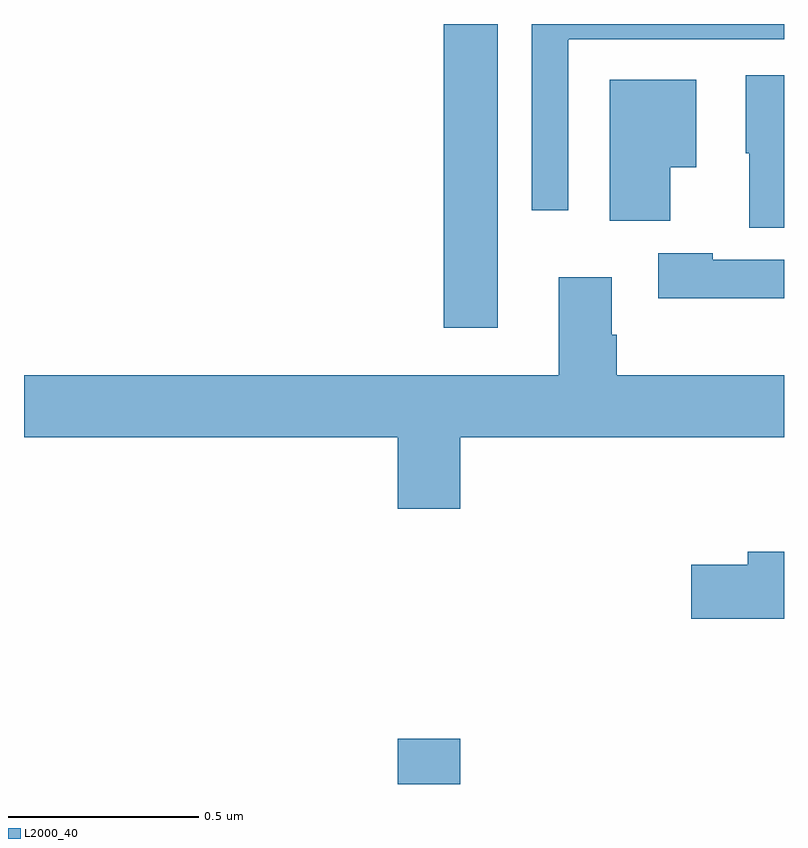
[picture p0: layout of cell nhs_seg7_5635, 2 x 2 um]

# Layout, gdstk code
import gdstk
lib = gdstk.Library(unit=1e-6, precision=1e-09)
def R(c, l, rs):  # rectangles x0, y0, x1, y1
    for r in rs: c.add(gdstk.rectangle(r[:2], r[2:], *l))
def P(c, l, *ps):  # polygons
    for p in ps: c.add(gdstk.Polygon(p, *l))
L2000_40 = (2000, 40)

nhs_seg7_5635 = lib.new_cell('nhs_seg7_5635')
R(nhs_seg7_5635, L2000_40, [(188.984,1037,189.148,1037.119), (189.104,1038.201,189.247,1039)])
P(nhs_seg7_5635, L2000_40, [(189.432,1038.959),(189.433,1038.959),(189.433,1038.96),(190,1038.96),(190,1039),(189.336,1039),(189.336,1038.51),(189.432,1038.51)],
  [(190,1038.865),(189.899,1038.865),(189.899,1038.66),(189.908,1038.66),(189.908,1038.464),(190,1038.464)],
  [(189.7,1038.623),(189.769,1038.623),(189.769,1038.853),(189.542,1038.853),(189.542,1038.482),(189.7,1038.482)],
  [(190,1038.379),(189.813,1038.379),(189.813,1038.397),(189.669,1038.397),(189.669,1038.278),(190,1038.278)],
  [(189.148,1037.912),(190,1037.912),(190,1038.076),(189.56,1038.076),(189.56,1038.182),(189.547,1038.182),(189.547,1038.334),(189.407,1038.334),(189.407,1038.076),(188,1038.076),(188,1037.912),(188.984,1037.912),(188.984,1037.724),(189.148,1037.724)],
  [(190,1037.611),(189.905,1037.611),(189.905,1037.577),(189.756,1037.577),(189.756,1037.435),(190,1037.435)])

lib.write_gds('nhs_seg7_5635.gds')
